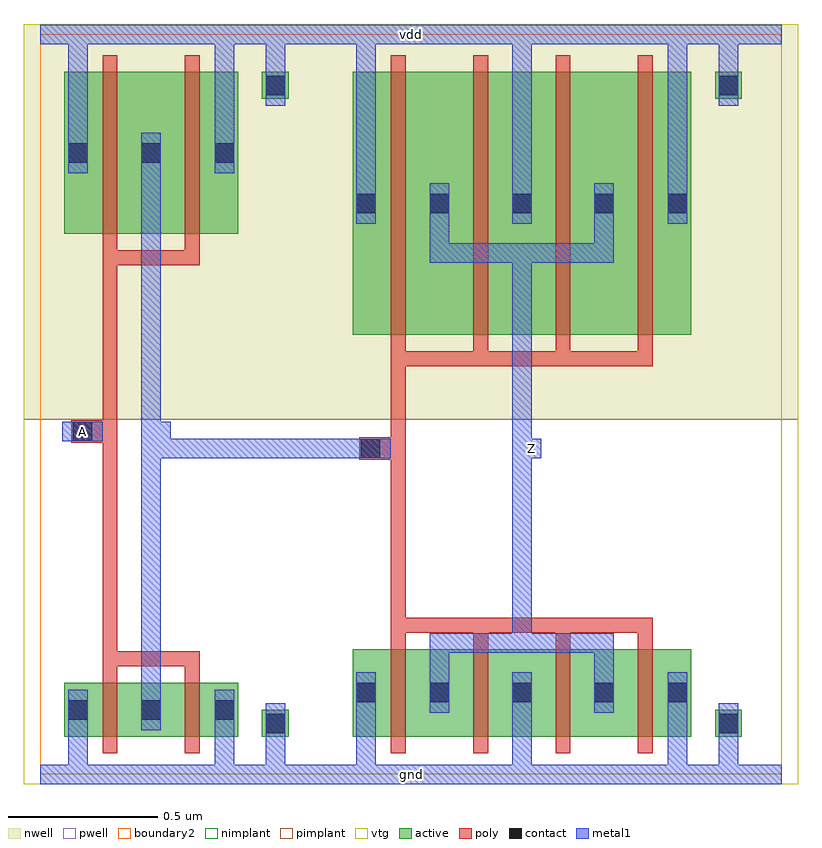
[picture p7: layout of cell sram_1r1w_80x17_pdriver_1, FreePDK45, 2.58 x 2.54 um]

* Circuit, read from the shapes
.subckt sram_1r1w_80x17_pdriver_1 A Z gnd vdd
M1 sram_1r1w_80x17_pinv_13_1/A A gnd gnd nfet w=0.18u l=0.05u m=2
M2 Z sram_1r1w_80x17_pinv_13_1/A gnd gnd nfet w=0.2925u l=0.05u m=4
M3 sram_1r1w_80x17_pinv_13_1/A A vdd vdd pfet w=0.54u l=0.05u m=2
M4 Z sram_1r1w_80x17_pinv_13_1/A vdd vdd pfet w=0.8775u l=0.05u m=4
.ends

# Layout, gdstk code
import gdstk
lib = gdstk.Library(unit=1e-6, precision=5e-10)
def R(c, l, rs):  # rectangles x0, y0, x1, y1
    for r in rs: c.add(gdstk.rectangle(r[:2], r[2:], *l))
def A(c, l, x, y, w, h, nx, ny, dx, dy):  # array of equal rectangles
    R(c, l, [(x+i*dx, y+j*dy, x+i*dx+w, y+j*dy+h) for i in range(nx) for j in range(ny)])
active = (1, 0)
pwell = (2, 0)
nwell = (3, 0)
nimplant = (4, 0)
pimplant = (5, 0)
vtg = (6, 0)
poly = (9, 0)
contact = (10, 0)
metal1 = (11, 0)
boundary2 = (239, 0)

sram_1r1w_80x17_contact_ = lib.new_cell('sram_1r1w_80x17_contact_11')
R(sram_1r1w_80x17_contact_, active, [(0,0.0225,0.09,0.1125)])
R(sram_1r1w_80x17_contact_, nwell, [(-0.055,-0.0325,0.145,0.1675)])
R(sram_1r1w_80x17_contact_, pimplant, [(0,0.0225,0.09,0.1125)])
R(sram_1r1w_80x17_contact_, contact, [(0.0125,0.035,0.0775,0.1)])
R(sram_1r1w_80x17_contact_, metal1, [(0.0125,0,0.0775,0.135)])
R(sram_1r1w_80x17_contact_, boundary2, [(-0.055,-0.0325,0.145,0.1675)])

sram_1r1w_80x17_pmos_m2_ = lib.new_cell('sram_1r1w_80x17_pmos_m2_w0_540_sm1_dm1_da_p')
R(sram_1r1w_80x17_pmos_m2_, active, [(0,0,0.58,0.54)])
R(sram_1r1w_80x17_pmos_m2_, nwell, [(-0.08,-0.08,0.66,0.62)])
R(sram_1r1w_80x17_pmos_m2_, pimplant, [(0,0,0.58,0.54)])
R(sram_1r1w_80x17_pmos_m2_, vtg, [(-0.08,-0.08,0.66,0.62)])
R(sram_1r1w_80x17_pmos_m2_, poly, [(0.1275,-0.105,0.4525,-0.055), (0.1275,-0.055,0.1775,0.595), (0.4025,-0.055,0.4525,0.595)])
A(sram_1r1w_80x17_pmos_m2_, metal1, 0.0125, 0.2025, 0.065, 0.135, 3, 1, 0.245, 0)
R(sram_1r1w_80x17_pmos_m2_, boundary2, [(-0.08,-0.105,0.66,0.62)])
sram_1r1w_80x17_pmos_m2_.add(gdstk.Reference(sram_1r1w_80x17_contact_, (0,0.2025)))
sram_1r1w_80x17_pmos_m2_.add(gdstk.Reference(sram_1r1w_80x17_contact_, (0.245,0.2025)))
sram_1r1w_80x17_pmos_m2_.add(gdstk.Reference(sram_1r1w_80x17_contact_, (0.49,0.2025)))
sram_1r1w_80x17_pmos_m2_.add(gdstk.Label('G', (0.29,-0.08), layer=9, texttype=0))
sram_1r1w_80x17_pmos_m2_.add(gdstk.Label('S', (0.535,0.27), layer=11, texttype=0))
sram_1r1w_80x17_pmos_m2_.add(gdstk.Label('S', (0.045,0.27), layer=11, texttype=0))
sram_1r1w_80x17_pmos_m2_.add(gdstk.Label('D', (0.29,0.27), layer=11, texttype=0))

c_sram_1r1w_80x17_contact_ = lib.new_cell('sram_1r1w_80x17_contact_10')
R(c_sram_1r1w_80x17_contact_, active, [(0,0.0225,0.09,0.1125)])
R(c_sram_1r1w_80x17_contact_, pwell, [(-0.055,-0.0325,0.145,0.1675)])
R(c_sram_1r1w_80x17_contact_, nimplant, [(0,0.0225,0.09,0.1125)])
R(c_sram_1r1w_80x17_contact_, contact, [(0.0125,0.035,0.0775,0.1)])
R(c_sram_1r1w_80x17_contact_, metal1, [(0.0125,0,0.0775,0.135)])
R(c_sram_1r1w_80x17_contact_, boundary2, [(-0.055,-0.0325,0.145,0.1675)])

sram_1r1w_80x17_nmos_m2_ = lib.new_cell('sram_1r1w_80x17_nmos_m2_w0_180_sm1_dm1_da_p')
R(sram_1r1w_80x17_nmos_m2_, active, [(0,0,0.58,0.18)])
R(sram_1r1w_80x17_nmos_m2_, pwell, [(-0.08,-0.08,0.66,0.26)])
R(sram_1r1w_80x17_nmos_m2_, nimplant, [(0,0,0.58,0.18)])
R(sram_1r1w_80x17_nmos_m2_, vtg, [(-0.08,-0.08,0.66,0.26)])
R(sram_1r1w_80x17_nmos_m2_, poly, [(0.1275,-0.055,0.1775,0.235), (0.4025,-0.055,0.4525,0.235), (0.1275,0.235,0.4525,0.285)])
A(sram_1r1w_80x17_nmos_m2_, metal1, 0.0125, 0.0225, 0.065, 0.135, 3, 1, 0.245, 0)
R(sram_1r1w_80x17_nmos_m2_, boundary2, [(-0.08,-0.08,0.66,0.285)])
sram_1r1w_80x17_nmos_m2_.add(gdstk.Reference(c_sram_1r1w_80x17_contact_, (0,0.0225)))
sram_1r1w_80x17_nmos_m2_.add(gdstk.Reference(c_sram_1r1w_80x17_contact_, (0.245,0.0225)))
sram_1r1w_80x17_nmos_m2_.add(gdstk.Reference(c_sram_1r1w_80x17_contact_, (0.49,0.0225)))
sram_1r1w_80x17_nmos_m2_.add(gdstk.Label('G', (0.29,0.26), layer=9, texttype=0))
sram_1r1w_80x17_nmos_m2_.add(gdstk.Label('S', (0.535,0.09), layer=11, texttype=0))
sram_1r1w_80x17_nmos_m2_.add(gdstk.Label('S', (0.045,0.09), layer=11, texttype=0))
sram_1r1w_80x17_nmos_m2_.add(gdstk.Label('D', (0.29,0.09), layer=11, texttype=0))

c_sram_1r1w_80x17_contact__ = lib.new_cell('sram_1r1w_80x17_contact_12')
R(c_sram_1r1w_80x17_contact__, active, [(0,0.0225,0.09,0.1125)])
R(c_sram_1r1w_80x17_contact__, nwell, [(-0.055,-0.0325,0.145,0.1675)])
R(c_sram_1r1w_80x17_contact__, nimplant, [(0,0.0225,0.09,0.1125)])
R(c_sram_1r1w_80x17_contact__, contact, [(0.0125,0.035,0.0775,0.1)])
R(c_sram_1r1w_80x17_contact__, metal1, [(0.0125,0,0.0775,0.135)])
R(c_sram_1r1w_80x17_contact__, boundary2, [(-0.055,-0.0325,0.145,0.1675)])

c_sram_1r1w_80x17_contact___ = lib.new_cell('sram_1r1w_80x17_contact_13')
R(c_sram_1r1w_80x17_contact___, active, [(0,0.0225,0.09,0.1125)])
R(c_sram_1r1w_80x17_contact___, pwell, [(-0.055,-0.0325,0.145,0.1675)])
R(c_sram_1r1w_80x17_contact___, pimplant, [(0,0.0225,0.09,0.1125)])
R(c_sram_1r1w_80x17_contact___, contact, [(0.0125,0.035,0.0775,0.1)])
R(c_sram_1r1w_80x17_contact___, metal1, [(0.0125,0,0.0775,0.135)])
R(c_sram_1r1w_80x17_contact___, boundary2, [(-0.055,-0.0325,0.145,0.1675)])

c_sram_1r1w_80x17_contact____ = lib.new_cell('sram_1r1w_80x17_contact_14')
R(c_sram_1r1w_80x17_contact____, poly, [(0.03,0,0.105,0.075)])
R(c_sram_1r1w_80x17_contact____, contact, [(0.035,0.005,0.1,0.07)])
R(c_sram_1r1w_80x17_contact____, metal1, [(0,0.005,0.135,0.07)])
R(c_sram_1r1w_80x17_contact____, boundary2, [(0,0,0.135,0.075)])

sram_1r1w_80x17_pinv_12 = lib.new_cell('sram_1r1w_80x17_pinv_12')
R(sram_1r1w_80x17_pinv_12, pwell, [(-0.055,-0.0325,1.0175,1.185)])
R(sram_1r1w_80x17_pinv_12, nwell, [(-0.055,1.185,1.0175,2.505)])
R(sram_1r1w_80x17_pinv_12, vtg, [(-0.055,-0.0325,1.0175,1.185), (-0.055,1.185,1.0175,2.505)])
R(sram_1r1w_80x17_pinv_12, poly, [(0.2075,0.41,0.2575,1.7), (0.14,1.1075,0.2075,1.1825)])
R(sram_1r1w_80x17_pinv_12, metal1, [(0,-0.0325,0.9625,0.0325), (0.0925,-0.0325,0.1575,0.1475), (0.5825,-0.0325,0.6475,0.1475), (0.7525,0,0.8175,0.17), (0.3375,0.1475,0.4025,2.1425), (0.0725,1.1125,0.2075,1.1775), (0.37,1.1125,0.435,1.1775), (0.0925,2.0075,0.1575,2.5025), (0.5825,2.0075,0.6475,2.5025), (0.7525,2.3,0.8175,2.47), (0,2.4375,0.9625,2.5025)])
R(sram_1r1w_80x17_pinv_12, boundary2, [(0,0,0.9625,2.47), (0,0,0.9625,2.47)])
sram_1r1w_80x17_pinv_12.add(gdstk.Reference(sram_1r1w_80x17_pmos_m2_, (0.08,1.805)))
sram_1r1w_80x17_pinv_12.add(gdstk.Reference(sram_1r1w_80x17_nmos_m2_, (0.08,0.125)))
sram_1r1w_80x17_pinv_12.add(gdstk.Reference(c_sram_1r1w_80x17_contact__, (0.74,2.2325)))
sram_1r1w_80x17_pinv_12.add(gdstk.Reference(c_sram_1r1w_80x17_contact___, (0.74,0.1025)))
sram_1r1w_80x17_pinv_12.add(gdstk.Reference(c_sram_1r1w_80x17_contact____, (0.0725,1.1075)))
sram_1r1w_80x17_pinv_12.add(gdstk.Label('A', (0.14,1.145), layer=11, texttype=0))
sram_1r1w_80x17_pinv_12.add(gdstk.Label('Z', (0.4025,1.145), layer=11, texttype=0))
sram_1r1w_80x17_pinv_12.add(gdstk.Label('gnd', (0.481,0), layer=11, texttype=0))
sram_1r1w_80x17_pinv_12.add(gdstk.Label('vdd', (0.481,2.47), layer=11, texttype=0))

sram_1r1w_80x17_pmos_m4_ = lib.new_cell('sram_1r1w_80x17_pmos_m4_w0_878_sm1_dm1_da_p')
R(sram_1r1w_80x17_pmos_m4_, active, [(0,0,1.13,0.8775)])
R(sram_1r1w_80x17_pmos_m4_, nwell, [(-0.08,-0.08,1.21,0.9575)])
R(sram_1r1w_80x17_pmos_m4_, pimplant, [(0,0,1.13,0.8775)])
R(sram_1r1w_80x17_pmos_m4_, vtg, [(-0.08,-0.08,1.21,0.9575)])
A(sram_1r1w_80x17_pmos_m4_, poly, 0.1275, -0.055, 0.05, 0.9875, 4, 1, 0.275, 0)
R(sram_1r1w_80x17_pmos_m4_, poly, [(0.1275,-0.105,1.0025,-0.055)])
A(sram_1r1w_80x17_pmos_m4_, metal1, 0.0125, 0.37, 0.065, 0.135, 3, 1, 0.52, 0)
R(sram_1r1w_80x17_pmos_m4_, metal1, [(0.2575,0.24,0.8725,0.305), (0.2575,0.275,0.3225,0.44), (0.8075,0.275,0.8725,0.44)])
R(sram_1r1w_80x17_pmos_m4_, boundary2, [(-0.08,-0.105,1.21,0.9575)])
sram_1r1w_80x17_pmos_m4_.add(gdstk.Reference(sram_1r1w_80x17_contact_, (0,0.37)))
sram_1r1w_80x17_pmos_m4_.add(gdstk.Reference(sram_1r1w_80x17_contact_, (0.245,0.37)))
sram_1r1w_80x17_pmos_m4_.add(gdstk.Reference(sram_1r1w_80x17_contact_, (0.52,0.37)))
sram_1r1w_80x17_pmos_m4_.add(gdstk.Reference(sram_1r1w_80x17_contact_, (0.795,0.37)))
sram_1r1w_80x17_pmos_m4_.add(gdstk.Reference(sram_1r1w_80x17_contact_, (1.04,0.37)))
sram_1r1w_80x17_pmos_m4_.add(gdstk.Label('G', (0.565,-0.08), layer=9, texttype=0))
sram_1r1w_80x17_pmos_m4_.add(gdstk.Label('S', (1.085,0.4375), layer=11, texttype=0))
sram_1r1w_80x17_pmos_m4_.add(gdstk.Label('S', (0.045,0.4375), layer=11, texttype=0))
sram_1r1w_80x17_pmos_m4_.add(gdstk.Label('S', (0.565,0.4375), layer=11, texttype=0))
sram_1r1w_80x17_pmos_m4_.add(gdstk.Label('D', (0.565,0.2725), layer=11, texttype=0))

sram_1r1w_80x17_nmos_m4_ = lib.new_cell('sram_1r1w_80x17_nmos_m4_w0_292_sm1_dm1_da_p')
R(sram_1r1w_80x17_nmos_m4_, active, [(0,0,1.13,0.2925)])
R(sram_1r1w_80x17_nmos_m4_, pwell, [(-0.08,-0.08,1.21,0.3725)])
R(sram_1r1w_80x17_nmos_m4_, nimplant, [(0,0,1.13,0.2925)])
R(sram_1r1w_80x17_nmos_m4_, vtg, [(-0.08,-0.08,1.21,0.3725)])
A(sram_1r1w_80x17_nmos_m4_, poly, 0.1275, -0.055, 0.05, 0.4025, 4, 1, 0.275, 0)
R(sram_1r1w_80x17_nmos_m4_, poly, [(0.1275,0.3475,1.0025,0.3975)])
A(sram_1r1w_80x17_nmos_m4_, metal1, 0.0125, 0.08, 0.065, 0.135, 3, 1, 0.52, 0)
R(sram_1r1w_80x17_nmos_m4_, metal1, [(0.2575,0.145,0.3225,0.31), (0.8075,0.145,0.8725,0.31), (0.2575,0.28,0.8725,0.345)])
R(sram_1r1w_80x17_nmos_m4_, boundary2, [(-0.08,-0.08,1.21,0.3975)])
sram_1r1w_80x17_nmos_m4_.add(gdstk.Reference(c_sram_1r1w_80x17_contact_, (0,0.08)))
sram_1r1w_80x17_nmos_m4_.add(gdstk.Reference(c_sram_1r1w_80x17_contact_, (0.245,0.08)))
sram_1r1w_80x17_nmos_m4_.add(gdstk.Reference(c_sram_1r1w_80x17_contact_, (0.52,0.08)))
sram_1r1w_80x17_nmos_m4_.add(gdstk.Reference(c_sram_1r1w_80x17_contact_, (0.795,0.08)))
sram_1r1w_80x17_nmos_m4_.add(gdstk.Reference(c_sram_1r1w_80x17_contact_, (1.04,0.08)))
sram_1r1w_80x17_nmos_m4_.add(gdstk.Label('G', (0.565,0.3725), layer=9, texttype=0))
sram_1r1w_80x17_nmos_m4_.add(gdstk.Label('S', (1.085,0.1475), layer=11, texttype=0))
sram_1r1w_80x17_nmos_m4_.add(gdstk.Label('S', (0.045,0.1475), layer=11, texttype=0))
sram_1r1w_80x17_nmos_m4_.add(gdstk.Label('S', (0.565,0.1475), layer=11, texttype=0))
sram_1r1w_80x17_nmos_m4_.add(gdstk.Label('D', (0.565,0.3125), layer=11, texttype=0))

sram_1r1w_80x17_pinv_13 = lib.new_cell('sram_1r1w_80x17_pinv_13')
R(sram_1r1w_80x17_pinv_13, pwell, [(-0.055,-0.0325,1.5675,1.185)])
R(sram_1r1w_80x17_pinv_13, nwell, [(-0.055,1.185,1.5675,2.505)])
R(sram_1r1w_80x17_pinv_13, vtg, [(-0.055,-0.0325,1.5675,1.185), (-0.055,1.185,1.5675,2.505)])
R(sram_1r1w_80x17_pinv_13, poly, [(0.2075,0.5225,0.2575,1.3625), (0.14,1.05,0.2075,1.125)])
A(sram_1r1w_80x17_pinv_13, metal1, 0.0925, -0.0325, 0.065, 0.2375, 3, 1, 0.52, 0)
A(sram_1r1w_80x17_pinv_13, metal1, 0.0925, 1.8375, 0.065, 0.665, 3, 1, 0.52, 0)
R(sram_1r1w_80x17_pinv_13, metal1, [(0,-0.0325,1.5125,0.0325), (1.3025,0,1.3675,0.17), (0.6125,0.405,0.6775,1.7725), (0.0725,1.055,0.2075,1.12), (0.645,1.055,0.71,1.12), (1.3025,2.3,1.3675,2.47), (0,2.4375,1.5125,2.5025)])
R(sram_1r1w_80x17_pinv_13, boundary2, [(0,0,1.5125,2.47), (0,0,1.5125,2.47)])
sram_1r1w_80x17_pinv_13.add(gdstk.Reference(sram_1r1w_80x17_pmos_m4_, (0.08,1.4675)))
sram_1r1w_80x17_pinv_13.add(gdstk.Reference(sram_1r1w_80x17_nmos_m4_, (0.08,0.125)))
sram_1r1w_80x17_pinv_13.add(gdstk.Reference(c_sram_1r1w_80x17_contact__, (1.29,2.2325)))
sram_1r1w_80x17_pinv_13.add(gdstk.Reference(c_sram_1r1w_80x17_contact___, (1.29,0.1025)))
sram_1r1w_80x17_pinv_13.add(gdstk.Reference(c_sram_1r1w_80x17_contact____, (0.0725,1.05)))
sram_1r1w_80x17_pinv_13.add(gdstk.Label('A', (0.14,1.0875), layer=11, texttype=0))
sram_1r1w_80x17_pinv_13.add(gdstk.Label('Z', (0.6775,1.0875), layer=11, texttype=0))
sram_1r1w_80x17_pinv_13.add(gdstk.Label('gnd', (0.756,0), layer=11, texttype=0))
sram_1r1w_80x17_pinv_13.add(gdstk.Label('vdd', (0.756,2.47), layer=11, texttype=0))

sram_1r1w_80x17_pdriver_ = lib.new_cell('sram_1r1w_80x17_pdriver_1')
R(sram_1r1w_80x17_pdriver_, pwell, [(-0.055,-0.0325,2.53,1.185)])
R(sram_1r1w_80x17_pdriver_, nwell, [(-0.055,1.185,2.53,2.505)])
R(sram_1r1w_80x17_pdriver_, vtg, [(-0.055,-0.0325,2.53,1.185), (-0.055,1.185,2.53,2.505)])
R(sram_1r1w_80x17_pdriver_, metal1, [(0,-0.0325,2.475,0.0325), (0.37,1.055,0.435,1.12), (0.4025,1.055,1.1025,1.12), (1.6075,1.055,1.6725,1.12), (0.37,1.0875,0.435,1.145), (0.0725,1.1125,0.2075,1.1775), (0,2.4375,2.475,2.5025)])
R(sram_1r1w_80x17_pdriver_, boundary2, [(0,0,2.475,2.47), (0,0,2.475,2.47)])
sram_1r1w_80x17_pdriver_.add(gdstk.Reference(sram_1r1w_80x17_pinv_12, (0,0)))
sram_1r1w_80x17_pdriver_.add(gdstk.Reference(sram_1r1w_80x17_pinv_13, (0.9625,0)))
sram_1r1w_80x17_pdriver_.add(gdstk.Label('Z', (1.64,1.0875), layer=11, texttype=0))
sram_1r1w_80x17_pdriver_.add(gdstk.Label('A', (0.14,1.145), layer=11, texttype=0))
sram_1r1w_80x17_pdriver_.add(gdstk.Label('gnd', (1.2375,0), layer=11, texttype=0))
sram_1r1w_80x17_pdriver_.add(gdstk.Label('vdd', (1.2375,2.47), layer=11, texttype=0))

lib.write_gds('sram_1r1w_80x17_pdriver_1.gds')
